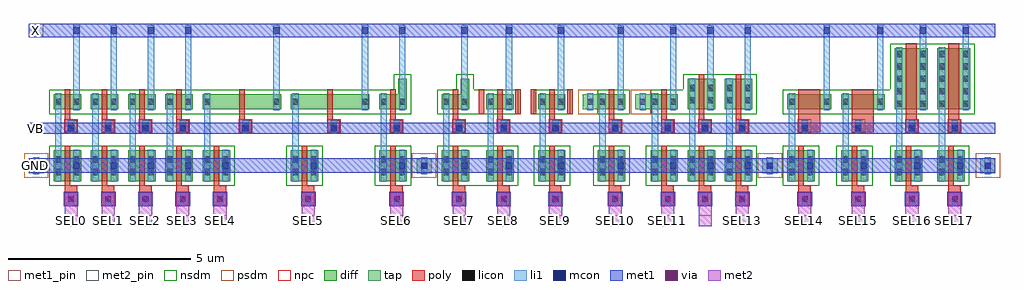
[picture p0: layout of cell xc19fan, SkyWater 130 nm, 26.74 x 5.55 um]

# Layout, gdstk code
import gdstk
lib = gdstk.Library(unit=1e-6, precision=1e-09)
def R(c, l, rs):  # rectangles x0, y0, x1, y1
    for r in rs: c.add(gdstk.rectangle(r[:2], r[2:], *l))
def A(c, l, x, y, w, h, nx, ny, dx, dy):  # array of equal rectangles
    R(c, l, [(x+i*dx, y+j*dy, x+i*dx+w, y+j*dy+h) for i in range(nx) for j in range(ny)])
diff = (65, 20)
tap = (65, 44)
poly = (66, 20)
licon = (66, 44)
li1 = (67, 20)
mcon = (67, 44)
met1_pin = (68, 16)
met1 = (68, 20)
via = (68, 44)
met2_pin = (69, 16)
met2 = (69, 20)
nsdm = (93, 44)
psdm = (94, 20)
npc = (95, 20)

xc19fan = lib.new_cell('xc19fan')
A(xc19fan, diff, 0.69, -1.96, 0.75, 0.84, 5, 1, 1.02, 0)
A(xc19fan, diff, 17.04, -1.96, 0.75, 0.84, 3, 1, 1.02, 0)
A(xc19fan, diff, 20.79, -1.96, 0.75, 0.84, 3, 1, 1.47, 0)
A(xc19fan, diff, 0.69, 0, 0.75, 0.42, 4, 1, 1.02, 0)
R(xc19fan, diff, [(7.19,-1.96,7.94,-1.12), (9.61,-1.96,10.36,-1.12), (11.32,-1.96,12.07,-1.12), (12.54,-1.96,13.29,-1.12), (13.96,-1.96,14.71,-1.12), (15.6,-1.96,16.35,-1.12), (24.9,-1.96,25.65,-1.12), (4.77,0,6.92,0.42), (7.19,0,9.34,0.42), (9.61,0,10.36,0.42), (11.32,0,12.07,0.42), (12.54,0,13.29,0.42), (13.96,0,14.71,0.42), (15.6,0,16.35,0.42), (17.04,0,17.79,0.42), (18.06,0,18.81,0.84), (19.08,0,19.83,0.84), (20.79,0,21.99,0.42), (22.26,0,23.46,0.42), (23.73,0,24.63,1.68), (24.9,0,25.8,1.68), (10.135,0.42,10.36,0.84), (11.845,0.42,12.07,0.84)])
R(xc19fan, tap, [(0,-1.75,0.42,-1.33), (10.63,-1.75,11.05,-1.33), (20.1,-1.75,20.52,-1.33), (26.07,-1.75,26.49,-1.33), (15.18,0,15.6,0.42), (16.62,0,17.04,0.42)])
A(xc19fan, poly, 0.99, -2.62, 0.34, 0.53, 5, 1, 1.02, 0)
A(xc19fan, poly, 17.34, -2.62, 0.34, 0.53, 3, 1, 1.02, 0)
A(xc19fan, poly, 21.09, -2.62, 0.34, 0.53, 3, 1, 1.47, 0)
A(xc19fan, poly, 0.99, -2.09, 0.15, 1.1, 5, 1, 1.02, 0)
A(xc19fan, poly, 17.34, -2.09, 0.15, 1.1, 3, 1, 1.02, 0)
A(xc19fan, poly, 21.09, -2.09, 0.15, 1.1, 3, 1, 1.47, 0)
A(xc19fan, poly, 0.99, -0.62, 0.34, 0.33, 4, 1, 1.02, 0)
A(xc19fan, poly, 17.34, -0.62, 0.34, 0.33, 3, 1, 1.02, 0)
A(xc19fan, poly, 0.99, -0.29, 0.15, 0.84, 4, 1, 1.02, 0)
R(xc19fan, poly, [(7.49,-2.62,7.83,-2.09), (9.91,-2.62,10.25,-2.09), (11.62,-2.62,11.96,-2.09), (12.84,-2.62,13.18,-2.09), (14.26,-2.62,14.6,-2.09), (15.9,-2.62,16.24,-2.09), (25.2,-2.62,25.54,-2.09), (7.49,-2.09,7.64,-0.99), (9.91,-2.09,10.06,-0.99), (11.62,-2.09,11.77,-0.99), (12.84,-2.09,12.99,-0.99), (14.26,-2.09,14.41,-0.99), (15.9,-2.09,16.05,-0.99), (25.2,-2.09,25.35,-0.99), (5.77,-0.62,6.11,-0.29), (8.19,-0.62,8.53,-0.29), (9.91,-0.62,10.25,-0.29), (11.62,-0.62,11.96,-0.29), (12.84,-0.62,13.18,-0.29), (14.26,-0.62,14.6,-0.29), (15.9,-0.62,16.24,-0.29), (21.09,-0.62,21.69,0.55), (22.56,-0.62,23.16,0.55), (24.03,-0.62,24.37,-0.29), (25.2,-0.62,25.54,-0.29), (5.77,-0.29,5.92,0.55), (8.19,-0.29,8.34,0.55), (9.91,-0.29,10.06,0.55), (11.62,-0.29,11.77,0.55), (12.84,-0.29,12.99,0.55), (14.26,-0.29,14.41,0.55), (15.9,-0.29,16.05,0.55), (17.34,-0.29,17.49,0.55), (18.36,-0.29,18.51,0.97), (19.38,-0.29,19.53,0.97), (24.03,-0.29,24.33,1.81), (25.2,-0.29,25.5,1.81), (12.34,-0.13,12.49,0.55), (13.34,-0.13,13.49,0.55), (13.76,-0.13,13.91,0.55), (14.76,-0.13,14.91,0.55)])
A(xc19fan, licon, 1.08, -2.54, 0.17, 0.17, 5, 1, 1.02, 0)
A(xc19fan, licon, 17.43, -2.54, 0.17, 0.17, 3, 2, 1.02, 2)
A(xc19fan, licon, 21.18, -2.54, 0.17, 0.17, 3, 2, 1.47, 2)
A(xc19fan, licon, 1.08, -0.54, 0.17, 0.17, 4, 1, 1.02, 0)
A(xc19fan, licon, 23.77, 0.075, 0.17, 0.17, 1, 5, 0, 0.34)
A(xc19fan, licon, 24.42, 0.075, 0.17, 0.17, 1, 5, 0, 0.34)
A(xc19fan, licon, 24.94, 0.075, 0.17, 0.17, 1, 5, 0, 0.34)
A(xc19fan, licon, 25.59, 0.075, 0.17, 0.17, 1, 5, 0, 0.34)
R(xc19fan, licon, [(7.58,-2.54,7.75,-2.37), (10,-2.54,10.17,-2.37), (11.71,-2.54,11.88,-2.37), (12.93,-2.54,13.1,-2.37), (14.35,-2.54,14.52,-2.37), (15.99,-2.54,16.16,-2.37), (25.29,-2.54,25.46,-2.37), (0.73,-1.795,0.9,-1.625), (1.23,-1.795,1.4,-1.625), (1.75,-1.795,1.92,-1.625), (2.25,-1.795,2.42,-1.625), (2.77,-1.795,2.94,-1.625), (3.27,-1.795,3.44,-1.625), (3.79,-1.795,3.96,-1.625), (4.29,-1.795,4.46,-1.625), (4.81,-1.795,4.98,-1.625), (5.31,-1.795,5.48,-1.625), (7.23,-1.795,7.4,-1.625), (7.73,-1.795,7.9,-1.625), (9.65,-1.795,9.82,-1.625), (10.15,-1.795,10.32,-1.625), (11.36,-1.795,11.53,-1.625), (11.86,-1.795,12.03,-1.625), (12.58,-1.795,12.75,-1.625), (13.08,-1.795,13.25,-1.625), (14,-1.795,14.17,-1.625), (14.5,-1.795,14.67,-1.625), (15.64,-1.795,15.81,-1.625), (16.14,-1.795,16.31,-1.625), (17.08,-1.795,17.25,-1.625), (17.58,-1.795,17.75,-1.625), (18.1,-1.795,18.27,-1.625), (18.6,-1.795,18.77,-1.625), (19.12,-1.795,19.29,-1.625), (19.62,-1.795,19.79,-1.625), (20.83,-1.795,21,-1.625), (21.33,-1.795,21.5,-1.625), (22.3,-1.795,22.47,-1.625), (22.8,-1.795,22.97,-1.625), (23.77,-1.795,23.94,-1.625), (24.27,-1.795,24.44,-1.625), (24.94,-1.795,25.11,-1.625), (25.44,-1.795,25.61,-1.625), (0.125,-1.625,0.295,-1.455), (10.755,-1.625,10.925,-1.455), (20.225,-1.625,20.395,-1.455), (26.195,-1.625,26.365,-1.455), (0.73,-1.455,0.9,-1.285), (1.23,-1.455,1.4,-1.285), (1.75,-1.455,1.92,-1.285), (2.25,-1.455,2.42,-1.285), (2.77,-1.455,2.94,-1.285), (3.27,-1.455,3.44,-1.285), (3.79,-1.455,3.96,-1.285), (4.29,-1.455,4.46,-1.285), (4.81,-1.455,4.98,-1.285), (5.31,-1.455,5.48,-1.285), (7.23,-1.455,7.4,-1.285), (7.73,-1.455,7.9,-1.285), (9.65,-1.455,9.82,-1.285), (10.15,-1.455,10.32,-1.285), (11.36,-1.455,11.53,-1.285), (11.86,-1.455,12.03,-1.285), (12.58,-1.455,12.75,-1.285), (13.08,-1.455,13.25,-1.285), (14,-1.455,14.17,-1.285), (14.5,-1.455,14.67,-1.285), (15.64,-1.455,15.81,-1.285), (16.14,-1.455,16.31,-1.285), (17.08,-1.455,17.25,-1.285), (17.58,-1.455,17.75,-1.285), (18.1,-1.455,18.27,-1.285), (18.6,-1.455,18.77,-1.285), (19.12,-1.455,19.29,-1.285), (19.62,-1.455,19.79,-1.285), (20.83,-1.455,21,-1.285), (21.33,-1.455,21.5,-1.285), (22.3,-1.455,22.47,-1.285), (22.8,-1.455,22.97,-1.285), (23.77,-1.455,23.94,-1.285), (24.27,-1.455,24.44,-1.285), (24.94,-1.455,25.11,-1.285), (25.44,-1.455,25.61,-1.285), (5.86,-0.54,6.03,-0.37), (8.28,-0.54,8.45,-0.37), (10,-0.54,10.17,-0.37), (11.71,-0.54,11.88,-0.37), (12.93,-0.54,13.1,-0.37), (14.35,-0.54,14.52,-0.37), (15.99,-0.54,16.16,-0.37), (25.29,-0.54,25.46,-0.37), (0.73,0.125,0.9,0.295), (1.23,0.125,1.4,0.295), (1.75,0.125,1.92,0.295), (2.25,0.125,2.42,0.295), (2.77,0.125,2.94,0.295), (3.27,0.125,3.44,0.295), (3.79,0.125,3.96,0.295), (4.29,0.125,4.46,0.295), (4.81,0.125,4.98,0.295), (6.71,0.125,6.88,0.295), (7.23,0.125,7.4,0.295), (9.13,0.125,9.3,0.295), (9.65,0.125,9.82,0.295), (10.15,0.125,10.32,0.295), (11.36,0.125,11.53,0.295), (11.86,0.125,12.03,0.295), (12.58,0.125,12.75,0.295), (13.08,0.125,13.25,0.295), (14,0.125,14.17,0.295), (14.5,0.125,14.67,0.295), (15.3,0.125,15.47,0.295), (15.64,0.125,15.81,0.295), (16.14,0.125,16.31,0.295), (16.74,0.125,16.91,0.295), (17.08,0.125,17.25,0.295), (17.58,0.125,17.75,0.295), (20.83,0.125,21,0.295), (21.78,0.125,21.95,0.295), (22.3,0.125,22.47,0.295), (23.25,0.125,23.42,0.295), (18.1,0.165,18.27,0.335), (18.6,0.165,18.77,0.335), (19.12,0.165,19.29,0.335), (19.62,0.165,19.79,0.335), (18.1,0.505,18.27,0.675), (18.6,0.505,18.77,0.675), (19.12,0.505,19.29,0.675), (19.62,0.505,19.79,0.675)])
A(xc19fan, li1, 1.08, -2.62, 0.17, 0.33, 5, 1, 1.02, 0)
A(xc19fan, li1, 17.43, -2.62, 0.17, 0.33, 3, 2, 1.02, 2)
A(xc19fan, li1, 21.18, -2.62, 0.17, 0.33, 3, 2, 1.47, 2)
A(xc19fan, li1, 0.73, -1.98, 0.17, 2.42, 5, 1, 1.02, 0)
A(xc19fan, li1, 1.23, -1.98, 0.17, 0.88, 5, 1, 1.02, 0)
A(xc19fan, li1, 17.58, -1.98, 0.17, 0.88, 3, 1, 1.02, 0)
A(xc19fan, li1, 21.33, -1.98, 0.17, 0.88, 3, 1, 1.47, 0)
A(xc19fan, li1, 1.08, -0.62, 0.17, 0.33, 4, 1, 1.02, 0)
A(xc19fan, li1, 1.23, -0.02, 0.17, 2.33, 4, 1, 1.02, 0)
A(xc19fan, li1, 17.58, -0.02, 0.17, 2.33, 3, 1, 1.02, 0)
A(xc19fan, li1, 23.25, -0.02, 0.17, 2.33, 3, 1, 1.17, 0)
R(xc19fan, li1, [(7.58,-2.62,7.75,-2.29), (10,-2.62,10.17,-2.29), (11.71,-2.62,11.88,-2.29), (12.93,-2.62,13.1,-2.29), (14.35,-2.62,14.52,-2.29), (15.99,-2.62,16.16,-2.29), (25.29,-2.62,25.46,-2.29), (7.23,-1.98,7.4,0.44), (7.73,-1.98,7.9,-1.1), (9.65,-1.98,9.82,0.44), (10.15,-1.98,10.32,-1.1), (11.36,-1.98,11.53,0.44), (11.86,-1.98,12.03,-1.1), (12.58,-1.98,12.75,0.44), (13.08,-1.98,13.25,-1.1), (14,-1.98,14.17,0.44), (14.5,-1.98,14.67,-1.1), (15.64,-1.98,15.81,0.44), (16.14,-1.98,16.31,-1.1), (17.08,-1.98,17.25,0.44), (18.1,-1.98,18.27,0.86), (19.12,-1.98,19.29,0.86), (20.83,-1.98,21,0.44), (22.3,-1.98,22.47,0.44), (23.77,-1.98,23.94,1.7), (24.94,-1.98,25.11,1.7), (25.44,-1.98,25.61,-1.1), (0.125,-1.77,0.295,-1.31), (10.755,-1.77,10.925,-1.31), (20.225,-1.77,20.395,-1.31), (26.195,-1.77,26.365,-1.31), (5.86,-0.62,6.03,-0.29), (8.28,-0.62,8.45,-0.29), (10,-0.62,10.17,-0.29), (11.71,-0.62,11.88,-0.29), (12.93,-0.62,13.1,-0.29), (14.35,-0.62,14.52,-0.29), (15.99,-0.62,16.16,-0.29), (25.29,-0.62,25.46,-0.29), (6.71,-0.02,6.88,2.31), (9.13,-0.02,9.3,2.31), (10.15,-0.02,10.32,2.31), (11.86,-0.02,12.03,2.31), (13.08,-0.02,13.25,2.31), (14.5,-0.02,14.67,2.31), (15.3,-0.02,15.47,0.44), (16.14,-0.02,16.31,2.31), (16.74,-0.02,16.91,0.44), (21.78,-0.02,21.95,2.31)])
A(xc19fan, mcon, 1.08, -2.54, 0.17, 0.17, 5, 1, 1.02, 0)
A(xc19fan, mcon, 17.43, -2.54, 0.17, 0.17, 3, 2, 1.02, 1.94)
A(xc19fan, mcon, 21.18, -2.54, 0.17, 0.17, 3, 2, 1.47, 1.94)
A(xc19fan, mcon, 1.23, -1.625, 0.17, 0.17, 5, 1, 1.02, 0)
A(xc19fan, mcon, 17.58, -1.625, 0.17, 0.17, 3, 2, 1.02, 3.705)
A(xc19fan, mcon, 21.33, -1.625, 0.17, 0.17, 3, 1, 1.47, 0)
A(xc19fan, mcon, 1.08, -0.6, 0.17, 0.17, 4, 1, 1.02, 0)
A(xc19fan, mcon, 1.23, 2.08, 0.17, 0.17, 4, 1, 1.02, 0)
A(xc19fan, mcon, 23.25, 2.08, 0.17, 0.17, 3, 1, 1.17, 0)
R(xc19fan, mcon, [(7.58,-2.54,7.75,-2.37), (10,-2.54,10.17,-2.37), (11.71,-2.54,11.88,-2.37), (12.93,-2.54,13.1,-2.37), (14.35,-2.54,14.52,-2.37), (15.99,-2.54,16.16,-2.37), (25.29,-2.54,25.46,-2.37), (0.125,-1.625,0.295,-1.455), (7.73,-1.625,7.9,-1.455), (10.15,-1.625,10.32,-1.455), (10.755,-1.625,10.925,-1.455), (11.86,-1.625,12.03,-1.455), (13.08,-1.625,13.25,-1.455), (14.5,-1.625,14.67,-1.455), (16.14,-1.625,16.31,-1.455), (20.225,-1.625,20.395,-1.455), (25.44,-1.625,25.61,-1.455), (26.195,-1.625,26.365,-1.455), (5.86,-0.6,6.03,-0.43), (8.28,-0.6,8.45,-0.43), (10,-0.6,10.17,-0.43), (11.71,-0.6,11.88,-0.43), (12.93,-0.6,13.1,-0.43), (14.35,-0.6,14.52,-0.43), (15.99,-0.6,16.16,-0.43), (25.29,-0.6,25.46,-0.43), (6.71,2.08,6.88,2.25), (9.13,2.08,9.3,2.25), (10.15,2.08,10.32,2.25), (11.86,2.08,12.03,2.25), (13.08,2.08,13.25,2.25), (14.5,2.08,14.67,2.25), (16.14,2.08,16.31,2.25), (21.78,2.08,21.95,2.25)])
R(xc19fan, met1_pin, [(0,-1.74,0.4,-1.34), (0,-0.66,0.4,-0.37), (0,1.98,0.4,2.35)])
A(xc19fan, met1, 0.965, -2.655, 0.4, 0.4, 5, 1, 1.02, 0)
A(xc19fan, met1, 17.315, -2.655, 0.4, 0.4, 3, 1, 1.02, 0)
A(xc19fan, met1, 21.065, -2.655, 0.4, 0.4, 3, 1, 1.47, 0)
R(xc19fan, met1, [(7.465,-2.655,7.865,-2.255), (9.885,-2.655,10.285,-2.255), (11.595,-2.655,11.995,-2.255), (12.815,-2.655,13.215,-2.255), (14.235,-2.655,14.635,-2.255), (15.875,-2.655,16.275,-2.255), (25.175,-2.655,25.575,-2.255), (0,-1.74,26.49,-1.34), (0,-0.66,26.49,-0.37), (0,1.98,26.49,2.35)])
A(xc19fan, via, 1.09, -2.53, 0.15, 0.15, 5, 1, 1.02, 0)
A(xc19fan, via, 17.44, -2.53, 0.15, 0.15, 3, 1, 1.02, 0)
A(xc19fan, via, 21.19, -2.53, 0.15, 0.15, 3, 1, 1.47, 0)
R(xc19fan, via, [(7.59,-2.53,7.74,-2.38), (10.01,-2.53,10.16,-2.38), (11.72,-2.53,11.87,-2.38), (12.94,-2.53,13.09,-2.38), (14.36,-2.53,14.51,-2.38), (16,-2.53,16.15,-2.38), (25.3,-2.53,25.45,-2.38)])
A(xc19fan, met2_pin, 0.985, -3.2, 0.36, 0.3, 5, 1, 1.02, 0)
A(xc19fan, met2_pin, 17.335, -3.2, 0.36, 0.3, 3, 1, 1.02, 0)
A(xc19fan, met2_pin, 21.085, -3.2, 0.36, 0.3, 3, 1, 1.47, 0)
R(xc19fan, met2_pin, [(7.485,-3.2,7.845,-2.9), (9.905,-3.2,10.265,-2.9), (11.615,-3.2,11.975,-2.9), (12.835,-3.2,13.195,-2.9), (14.255,-3.2,14.615,-2.9), (15.895,-3.2,16.255,-2.9), (25.195,-3.2,25.555,-2.9)])
A(xc19fan, met2, 0.985, -3.2, 0.36, 0.925, 5, 1, 1.02, 0)
A(xc19fan, met2, 17.335, -3.2, 0.36, 0.925, 3, 1, 1.02, 0)
A(xc19fan, met2, 21.085, -3.2, 0.36, 0.925, 3, 1, 1.47, 0)
R(xc19fan, met2, [(7.485,-3.2,7.845,-2.275), (9.905,-3.2,10.265,-2.275), (11.615,-3.2,11.975,-2.275), (12.835,-3.2,13.195,-2.275), (14.255,-3.2,14.615,-2.275), (15.895,-3.2,16.255,-2.275), (25.195,-3.2,25.555,-2.275)])
R(xc19fan, nsdm, [(0.565,-2.085,5.645,-0.995), (7.065,-2.085,8.065,-0.995), (9.485,-2.085,10.485,-0.995), (11.195,-2.085,13.415,-0.995), (13.835,-2.085,14.835,-0.995), (15.475,-2.085,16.475,-0.995), (16.915,-2.085,19.955,-0.995), (20.665,-2.085,21.665,-0.995), (22.135,-2.085,23.135,-0.995), (23.605,-2.085,25.775,-0.995), (0.565,-0.125,10.485,0.545), (11.195,-0.125,13.415,0.545), (13.835,-0.125,14.835,0.545), (15.6,-0.125,16.475,0.545), (17.04,-0.125,19.955,0.545), (20.665,-0.125,25.925,0.545), (10.01,0.545,10.485,0.965), (11.72,0.545,12.195,0.965), (17.935,0.545,19.955,0.965), (23.605,0.545,25.925,1.805)])
R(xc19fan, psdm, [(-0.125,-1.875,0.545,-1.205), (10.505,-1.875,11.175,-1.205), (19.975,-1.875,20.645,-1.205), (25.945,-1.875,26.615,-1.205), (15.055,-0.125,15.6,0.545), (16.495,-0.125,17.04,0.545)])
A(xc19fan, npc, 0.98, -2.64, 0.37, 0.37, 5, 1, 1.02, 0)
A(xc19fan, npc, 17.33, -2.64, 0.37, 0.37, 3, 2, 1.02, 2)
A(xc19fan, npc, 21.08, -2.64, 0.37, 0.37, 3, 2, 1.47, 2)
A(xc19fan, npc, 0.98, -0.64, 0.37, 0.37, 4, 1, 1.02, 0)
R(xc19fan, npc, [(7.48,-2.64,7.85,-2.27), (9.9,-2.64,10.27,-2.27), (11.61,-2.64,11.98,-2.27), (12.83,-2.64,13.2,-2.27), (14.25,-2.64,14.62,-2.27), (15.89,-2.64,16.26,-2.27), (25.19,-2.64,25.56,-2.27), (5.76,-0.64,6.13,-0.27), (8.18,-0.64,8.55,-0.27), (9.9,-0.64,10.27,-0.27), (11.61,-0.64,11.98,-0.27), (12.83,-0.64,13.2,-0.27), (14.25,-0.64,14.62,-0.27), (15.89,-0.64,16.26,-0.27), (25.19,-0.64,25.56,-0.27)])
xc19fan.add(gdstk.Label('SEL0', (1.165,-3.05), layer=69, texttype=5))
xc19fan.add(gdstk.Label('SEL1', (2.185,-3.05), layer=69, texttype=5))
xc19fan.add(gdstk.Label('SEL2', (3.205,-3.05), layer=69, texttype=5))
xc19fan.add(gdstk.Label('SEL3', (4.225,-3.05), layer=69, texttype=5))
xc19fan.add(gdstk.Label('SEL4', (5.245,-3.05), layer=69, texttype=5))
xc19fan.add(gdstk.Label('SEL5', (7.665,-3.05), layer=69, texttype=5))
xc19fan.add(gdstk.Label('SEL6', (10.085,-3.05), layer=69, texttype=5))
xc19fan.add(gdstk.Label('SEL7', (11.795,-3.05), layer=69, texttype=5))
xc19fan.add(gdstk.Label('SEL8', (13.015,-3.05), layer=69, texttype=5))
xc19fan.add(gdstk.Label('SEL9', (14.435,-3.05), layer=69, texttype=5))
xc19fan.add(gdstk.Label('SEL10', (16.075,-3.05), layer=69, texttype=5))
xc19fan.add(gdstk.Label('SEL11', (17.515,-3.05), layer=69, texttype=5))
xc19fan.add(gdstk.Label('SEL12', (18.535,-3.05), layer=69, texttype=5))
xc19fan.add(gdstk.Label('SEL13', (19.555,-3.05), layer=69, texttype=5))
xc19fan.add(gdstk.Label('SEL14', (21.265,-3.05), layer=69, texttype=5))
xc19fan.add(gdstk.Label('SEL15', (22.735,-3.05), layer=69, texttype=5))
xc19fan.add(gdstk.Label('SEL16', (24.205,-3.05), layer=69, texttype=5))
xc19fan.add(gdstk.Label('SEL17', (25.375,-3.05), layer=69, texttype=5))
xc19fan.add(gdstk.Label('X', (0.2,2.165), layer=68, texttype=5))
xc19fan.add(gdstk.Label('VB', (0.2,-0.515), layer=68, texttype=5))
xc19fan.add(gdstk.Label('GND', (0.2,-1.54), layer=68, texttype=5))

lib.write_gds('xc19fan.gds')
